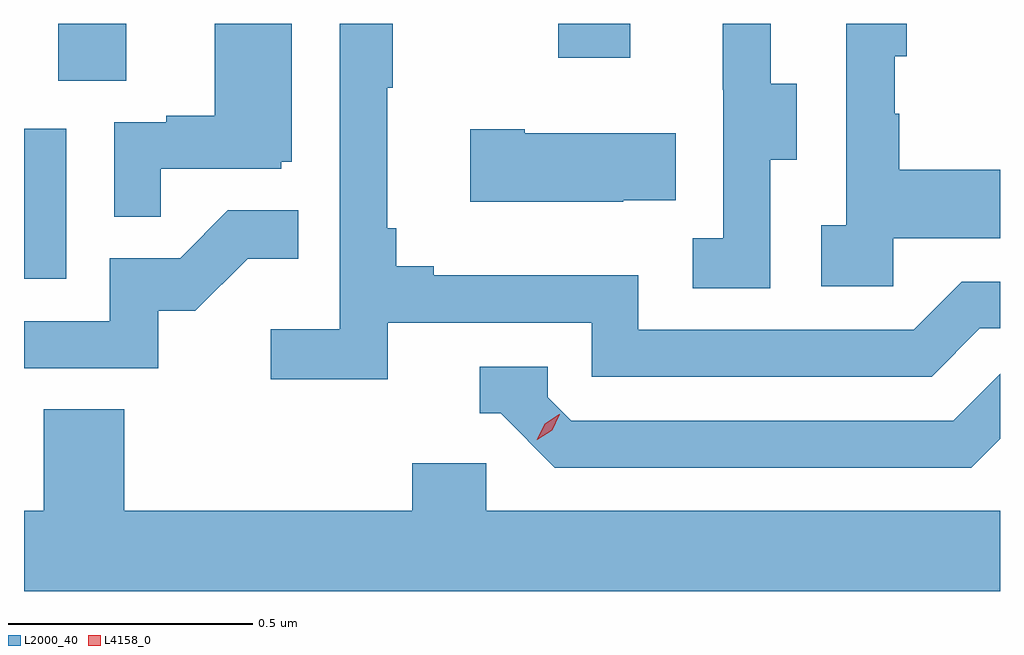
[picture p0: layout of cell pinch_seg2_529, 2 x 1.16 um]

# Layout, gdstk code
import gdstk
lib = gdstk.Library(unit=1e-6, precision=1e-09)
def R(c, l, rs):  # rectangles x0, y0, x1, y1
    for r in rs: c.add(gdstk.rectangle(r[:2], r[2:], *l))
def P(c, l, *ps):  # polygons
    for p in ps: c.add(gdstk.Polygon(p, *l))
L2000_40 = (2000, 40)
L4158_0 = (4158, 0)

pinch_seg2_529 = lib.new_cell('pinch_seg2_529')
R(pinch_seg2_529, L2000_40, [(995.011,587.004,995.098,587.311), (995.081,587.41,995.221,587.526), (996.106,587.457,996.253,587.526)])
P(pinch_seg2_529, L2000_40, [(995.291,587.229),(995.538,587.229),(995.538,587.244),(995.56,587.244),(995.56,587.526),(995.402,587.526),(995.402,587.338),(995.303,587.338),(995.303,587.325),(995.196,587.325),(995.196,587.131),(995.291,587.131)],
  [(996.792,587.087),(997.011,587.087),(997.011,587.227),(996.805,587.227),(996.805,587.342),(996.795,587.342),(996.795,587.46),(996.82,587.46),(996.82,587.526),(996.696,587.526),(996.696,587.114),(996.645,587.114),(996.645,586.989),(996.792,586.989)],
  [(995.756,586.914),(996.174,586.914),(996.174,586.803),(996.871,586.803),(996.97,586.902),(997.011,586.902),(997.011,586.998),(996.933,586.998),(996.834,586.899),(996.27,586.899),(996.27,587.011),(995.851,587.011),(995.851,587.03),(995.774,587.03),(995.774,587.107),(995.755,587.107),(995.755,587.395),(995.767,587.395),(995.767,587.526),(995.658,587.526),(995.658,586.9),(995.517,586.9),(995.517,586.798),(995.756,586.798)],
  [(996.54,587.248),(996.595,587.248),(996.595,587.403),(996.541,587.403),(996.541,587.526),(996.443,587.526),(996.443,587.391),(996.444,587.391),(996.444,587.087),(996.381,587.087),(996.381,586.984),(996.54,586.984)],
  [(996.239,587.165),(996.347,587.165),(996.347,587.302),(996.037,587.302),(996.037,587.31),(995.925,587.31),(995.925,587.162),(996.239,587.162)],
  [(995.286,586.938),(995.362,586.938),(995.469,587.045),(995.573,587.045),(995.573,587.144),(995.429,587.144),(995.331,587.046),(995.187,587.046),(995.187,586.917),(995.011,586.917),(995.011,586.821),(995.286,586.821)],
  [(997.011,586.676),(997.011,586.809),(996.915,586.713),(996.132,586.713),(996.084,586.761),(996.084,586.824),(995.945,586.824),(995.945,586.728),(995.988,586.728),(996.099,586.617),(996.952,586.617)],
  [(997.011,586.528),(995.958,586.528),(995.958,586.626),(995.807,586.626),(995.807,586.528),(995.216,586.528),(995.216,586.736),(995.051,586.736),(995.051,586.528),(995.011,586.528),(995.011,586.364),(997.011,586.364)])
P(pinch_seg2_529, L4158_0, [(996.062,586.674),(996.062,586.674),(996.078,586.707),(996.108,586.726),(996.109,586.726),(996.109,586.726),(996.093,586.693),(996.063,586.674)])

lib.write_gds('pinch_seg2_529.gds')
